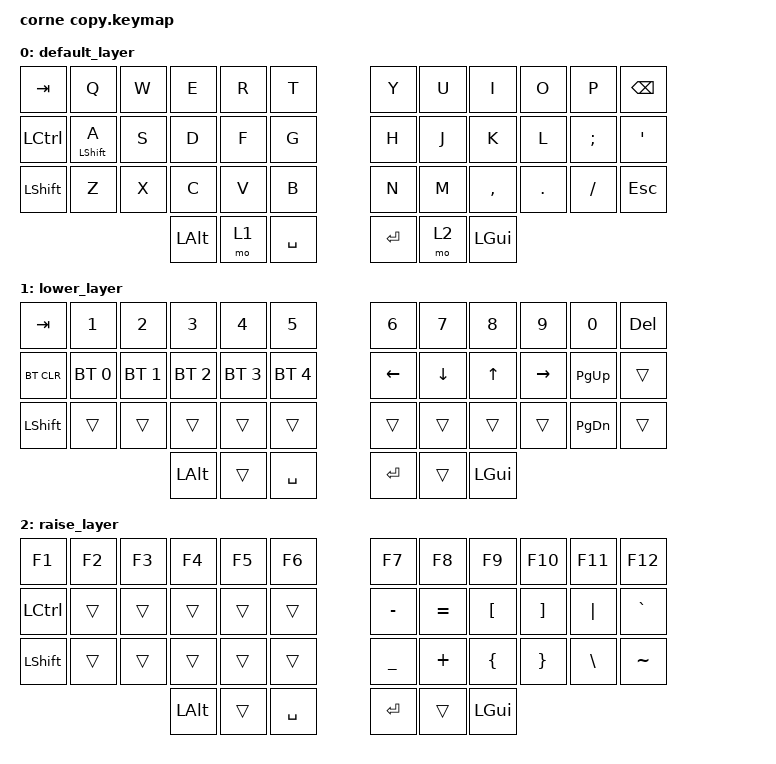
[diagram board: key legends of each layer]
/*
 * Copyright (c) 2020 The ZMK Contributors
 *
 * SPDX-License-Identifier: MIT
 */

#include <behaviors.dtsi>
#include <dt-bindings/zmk/keys.h>
#include <dt-bindings/zmk/bt.h>

/ {
    keymap {
        compatible = "zmk,keymap";
        default_layer {
//  ╭───────────────┬───────────────┬───────────────┬───────────────┬───────────────┬───────────────╮   ╭───────────────┬───────────────┬───────────────┬───────────────┬───────────────┬───────────────╮
//  | TAB           | Q             | W             | E             | R             | T             |   | Y             | U             | I             | O             | P             | BSPC          |
//  ├───────────────┼───────────────┼───────────────┼───────────────┼───────────────┼───────────────┤   ├───────────────┼───────────────┼───────────────┼───────────────┼───────────────┼───────────────┤
//  | CTRL          | A             | S             | D             | F             | G             |   | H             | J             | K             | L             | ;             | '             |
//  ├───────────────┼───────────────┼───────────────┼───────────────┼───────────────┼───────────────┤   ├───────────────┼───────────────┼───────────────┼───────────────┼───────────────┼───────────────┤
//  | SHIFT         | Z             | X             | C             | V             | B             |   | N             | M             | ,             | .             | /             | ESC           |
//  ╰───────────────┴───────────────┴───────────────┼───────────────┼───────────────┼───────────────┤   ├───────────────┼───────────────┼───────────────┼───────────────┴───────────────┴───────────────╯
//                                                  | ALT           | LOWER         | SPACE         |   | ENTER         | RAISE         | GUI           |
//                                                  ╰───────────────┴───────────────┴───────────────╯   ╰───────────────┴───────────────┴───────────────╯
            bindings = <
      &kp TAB         &kp Q           &kp W           &kp E           &kp R           &kp T               &kp Y           &kp U           &kp I           &kp O           &kp P           &kp BSPC
      &kp LCTRL       &mt LSHIFT A    &kp S           &kp D           &kp F           &kp G               &kp H           &kp J           &kp K           &kp L           &kp SEMI        &kp SQT
      &kp LSHFT       &kp Z           &kp X           &kp C           &kp V           &kp B               &kp N           &kp M           &kp COMMA       &kp DOT         &kp FSLH        &kp ESC
                                                      &kp LALT        &mo 1           &kp SPACE           &kp RET         &mo 2           &kp LGUI
            >;
        };
        lower_layer {
//  ╭───────────────┬───────────────┬───────────────┬───────────────┬───────────────┬───────────────╮   ╭───────────────┬───────────────┬───────────────┬───────────────┬───────────────┬───────────────╮
//  | CAPSLOCK      | 1             | 2             | 3             | 4             | 5             |   | 6             | 7             | 8             | 9             | 0             | DEL           |
//  ├───────────────┼───────────────┼───────────────┼───────────────┼───────────────┼───────────────┤   ├───────────────┼───────────────┼───────────────┼───────────────┼───────────────┼───────────────┤
//  | BTCLR         | BLUETOOTH 1   | BLUETOOTH 2   | BLUETOOTH 3   | BLUETOOTH 4   | BLUETOOTH 5   |   | LEFT          | DOWN          | UP            | RIGHT         | PAGE UP       | HOME          |
//  ├───────────────┼───────────────┼───────────────┼───────────────┼───────────────┼───────────────┤   ├───────────────┼───────────────┼───────────────┼───────────────┼───────────────┼───────────────┤
//  | SHIFT         | UNDO          | CUT           | COPY          | PASTE         |               |   |               |               |               |               | PAGE DOWN     | END           |
//  ╰───────────────┴───────────────┴───────────────┼───────────────┼───────────────┼───────────────┤   ├───────────────┼───────────────┼───────────────┼───────────────┴───────────────┴───────────────╯
//                                                  | ALT           |               | SPACE         |   | ENTER         |               | GUI           |
//                                                  ╰───────────────┴───────────────┴───────────────╯   ╰───────────────┴───────────────┴───────────────╯
            bindings = <
      &kp TAB         &kp N1          &kp N2          &kp N3          &kp N4          &kp N5              &kp N6          &kp N7          &kp N8          &kp N9          &kp N0          &kp DEL
      &bt BT_CLR      &bt BT_SEL 0    &bt BT_SEL 1    &bt BT_SEL 2    &bt BT_SEL 3    &bt BT_SEL 4        &kp LEFT        &kp DOWN        &kp UP          &kp RIGHT       &kp PG_UP       &trans
      &kp LSHFT       &trans          &trans          &trans          &trans          &trans              &trans          &trans          &trans          &trans          &kp PG_DN       &trans
                                                      &kp LALT        &trans          &kp SPACE           &kp RET         &trans          &kp LGUI
            >;
        };
        raise_layer {
//  ╭───────────────┬───────────────┬───────────────┬───────────────┬───────────────┬───────────────╮   ╭───────────────┬───────────────┬───────────────┬───────────────┬───────────────┬───────────────╮
//  | F1            | F2            | F3            | F4            | F5            | F6            |   | F7            | F8            | F9            | F10           | F11           | F12           |
//  ├───────────────┼───────────────┼───────────────┼───────────────┼───────────────┼───────────────┤   ├───────────────┼───────────────┼───────────────┼───────────────┼───────────────┼───────────────┤
//  | CTRL          |               |               |               |               |               |   | -             | =             | [             | ]             | "|"           | `             |
//  ├───────────────┼───────────────┼───────────────┼───────────────┼───────────────┼───────────────┤   ├───────────────┼───────────────┼───────────────┼───────────────┼───────────────┼───────────────┤
//  | SHIFT         |               |               |               |               |               |   | _             | +             | {             | }             | \             | ~             |
//  ╰───────────────┴───────────────┴───────────────┼───────────────┼───────────────┼───────────────┤   ├───────────────┼───────────────┼───────────────┼───────────────┴───────────────┴───────────────╯
//                                                  | ALT           |               | SPACE         |   | ENTER         |               | GUI           |
//                                                  ╰───────────────┴───────────────┴───────────────╯   ╰───────────────┴───────────────┴───────────────╯
            bindings = <
      &kp F1          &kp F2          &kp F3          &kp F4          &kp F5          &kp F6              &kp F7          &kp F8          &kp F9          &kp F10         &kp F11         &kp F12
      &kp LCTRL       &trans          &trans          &trans          &trans          &trans              &kp MINUS       &kp EQUAL       &kp LBKT        &kp RBKT        &kp PIPE        &kp GRAVE
      &kp LSHFT       &trans          &trans          &trans          &trans          &trans              &kp UNDER       &kp PLUS        &kp LBRC        &kp RBRC        &kp BSLH        &kp TILDE
                                                      &kp LALT        &trans          &kp SPACE           &kp RET         &trans          &kp LGUI
            >;
        };
    };
};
